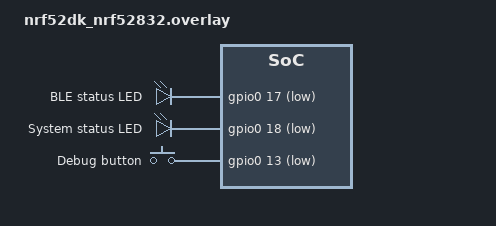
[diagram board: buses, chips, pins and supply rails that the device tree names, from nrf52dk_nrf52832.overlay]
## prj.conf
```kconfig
# nothing here

# LOG configuration
CONFIG_CONSOLE=y
CONFIG_LOG=y
CONFIG_LOG_BACKEND_UART=y
CONFIG_LOG_BACKEND_RTT=n

# Floating point unit 
CONFIG_FPU=y

# GPIO driver enable
CONFIG_GPIO=y

# Debug configuration

# BLE configuration
CONFIG_BT=y
CONFIG_BT_PERIPHERAL=y
CONFIG_BT_DEVICE_NAME="BLE-DEMO-CONNECTION2"
CONFIG_BT_LBS=y
CONFIG_BT_LBS_POLL_BUTTON=y
CONFIG_BT_GATT_CLIENT=y

# BLE connection parameters configuration.
CONFIG_BT_PERIPHERAL_PREF_MIN_INT=800
CONFIG_BT_PERIPHERAL_PREF_MAX_INT=800
CONFIG_BT_PERIPHERAL_PREF_LATENCY=0
CONFIG_BT_PERIPHERAL_PREF_TIMEOUT=400
CONFIG_BT_GAP_AUTO_UPDATE_CONN_PARAMS=y
CONFIG_BT_USER_PHY_UPDATE=y  

# Main stack configuration
CONFIG_SYSTEM_WORKQUEUE_STACK_SIZE=2048
CONFIG_MAIN_STACK_SIZE=2048
```

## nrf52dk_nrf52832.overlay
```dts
// To get started, press Ctrl+Space to bring up the completion menu and view the available nodes.

// You can also use the buttons in the sidebar to perform actions on nodes.
// Actions currently available include:

// * Enabling / disabling the node
// * Adding the bus to a bus
// * Removing the node
// * Connecting ADC channels

// For more help, browse the DeviceTree documentation at https://docs.zephyrproject.org/latest/guides/dts/index.html
// You can also visit the nRF DeviceTree extension documentation at https://nrfconnect.github.io/vscode-nrf-connect/devicetree/nrfdevicetree.html
/{
    outputs{
        compatible = "gpio-leds";

        blestatus: ble_status{
            gpios = < &gpio0 17 GPIO_ACTIVE_LOW >;
            label = "BLE status LED";
        };

        systemstatus: system_status{
            gpios = < &gpio0 18 GPIO_ACTIVE_LOW >;
            label = "System status LED";
        };
    };

    inputs{
        compatible = "gpio-keys";
        dbgbutton: dbg_button{
            gpios = < &gpio0 13 GPIO_ACTIVE_LOW >;
            label = "Debug button";
        };
    };

    aliases{
        blestatus=&blestatus;
        systemstatus=&systemstatus;
        dbgbutton=&dbgbutton;
    };
};
```

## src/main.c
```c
/*
 * Copyright (c) 2012-2014 Wind River Systems, Inc.
 *
 * SPDX-License-Identifier: Apache-2.0
 */

#include <zephyr/kernel.h>
#include <zephyr/logging/log.h>
#include <zephyr/drivers/gpio.h>
#include <zephyr/bluetooth/bluetooth.h>
#include <zephyr/bluetooth/gap.h>
#include <zephyr/bluetooth/gatt.h>
#include <zephyr/bluetooth/uuid.h>
#include <zephyr/bluetooth/addr.h>
#include <zephyr/bluetooth/conn.h>
#include <bluetooth/services/lbs.h>

/* LOG module register */
LOG_MODULE_REGISTER(main, LOG_LEVEL_DBG);

/* System constants */
#define STATUS_LED_TIME			(1000)
#define DEVICE_NAME				(CONFIG_BT_DEVICE_NAME)
#define DEVICE_NAME_LEN			(sizeof(DEVICE_NAME)-1)

/* GPIO structures */
struct gpio_dt_spec system_led = GPIO_DT_SPEC_GET(DT_ALIAS(systemstatus), gpios);
struct gpio_dt_spec ble_led = GPIO_DT_SPEC_GET(DT_ALIAS(blestatus), gpios);
struct gpio_dt_spec dbg_button = GPIO_DT_SPEC_GET(DT_ALIAS(dbgbutton), gpios);

/* Debug button callback */
static struct gpio_callback dbg_btn_cb;

/* Function prototypes */
static int init_leds(void);
static int init_button(void);

/* Bluetooth adv param 
	* Connectable advertising and use identity address 
	* 0x30 units, 48 units, 30ms.
	* 0x60 units, 96 units, 60ms
	* Set to NULL for undirected advertising
*/
static struct bt_le_adv_param *adv_param = BT_LE_ADV_PARAM(( BT_LE_ADV_OPT_CONNECTABLE |
																BT_LE_ADV_OPT_USE_IDENTITY),
														BT_GAP_ADV_FAST_INT_MIN_1,
														BT_GAP_ADV_FAST_INT_MAX_1,
														NULL);
struct bt_conn *my_conn = NULL;

static const struct bt_data ad[] ={
	BT_DATA_BYTES(BT_DATA_FLAGS, (BT_LE_AD_GENERAL | BT_LE_AD_NO_BREDR)),
	BT_DATA(BT_DATA_NAME_COMPLETE, DEVICE_NAME, DEVICE_NAME_LEN)
};

static const struct bt_data sd[] = {
	BT_DATA_BYTES(BT_DATA_UUID128_ALL, 
					BT_UUID_128_ENCODE(0x00001523, 0x1212, 0xefde, 0x1523, 0x785feabcd123))
					
};

void dbg_btn_callback(const struct device *port, struct gpio_callback *cb, gpio_port_pins_t pins){
	int err=0;
	LOG_INF("Button state is: %d",gpio_pin_get(port,dbg_button.pin));
	err = bt_lbs_send_button_state(gpio_pin_get(port,dbg_button.pin));
	if(err){
		LOG_ERR("Couldn't send notification. err:%d",err);
	}
}

void on_le_phy_updated(struct bt_conn *conn, struct bt_conn_le_phy_info *param){
	switch(param->tx_phy){
		case BT_CONN_LE_TX_POWER_PHY_1M: LOG_INF("PHY Updated. New PHY: 1M"); break;
		case BT_CONN_LE_TX_POWER_PHY_2M: LOG_INF("PHY Updated. New PHY: 2M"); break;
		case BT_CONN_LE_TX_POWER_PHY_CODED_S8: LOG_INF("PHY Updated. New PHY: Long range"); break;
	}
}

static void update_phy(struct bt_conn *conn){
	int err;
	const struct bt_conn_le_phy_param preferred_phy = {
		.options=BT_CONN_LE_PHY_OPT_NONE,
		.pref_rx_phy=BT_GAP_LE_PHY_2M,
		.pref_tx_phy=BT_GAP_LE_PHY_2M
	};
	err=bt_conn_le_phy_update(conn, &preferred_phy);
	if(err){
		LOG_ERR("bt_conn_le_phy_update() returned %d",err);
	}
}

void on_connected(struct bt_conn *conn, uint8_t err){
	if(err){
		LOG_ERR("Connection error %d",err);
		return;
	}
	LOG_INF("Connected");
	my_conn = bt_conn_ref(conn);
	gpio_pin_set(ble_led.port, ble_led.pin, true);
	
	struct bt_conn_info info;
	err=bt_conn_get_info(conn, &info);
	if(err){
		LOG_ERR("bt_conn_get_info() returned:%d",err);
		return;
	}

	double connection_interval = info.le.interval*1.25;
	uint16_t supervision_timeout = info.le.timeout*10;
	LOG_INF("Connection parameters: interval %.2f ms, latency %d intervals, timeout %d ms",
							connection_interval, info.le.latency, supervision_timeout);	
	update_phy(my_conn);						
}

void on_disconnected(struct bt_conn *conn, uint8_t reason){
	LOG_INF("Disconnected. Reason %d",reason);
	gpio_pin_set(ble_led.port, ble_led.pin, false);
	bt_conn_unref(my_conn);
}


void on_le_param_updated(struct bt_conn *conn, uint16_t interval, uint16_t latency, 
				uint16_t timeout){

	double connection_interval = interval*1.25;
	uint16_t supervision_timeout = timeout*10;
	LOG_INF("Connection parameters updated: interval %.2f ms, latency %d intervals, timeout %d ms", 
							connection_interval, latency, supervision_timeout);
	
}

struct bt_conn_cb bt_connection_callbacks = {
	.connected = on_connected,
	.disconnected = on_disconnected,
	.le_param_updated = on_le_param_updated,
	.le_phy_updated=on_le_phy_updated
};

void main(void)
{
	int err=0;

	/* Init LEDs */
	err=init_leds();
	if(err){
		LOG_ERR("Failed to initialized leds, error: %d",err);
		return;
	}	

	/* Init buttons */
	err=init_button();
	if(err){
		LOG_ERR("Failed to initialized button, error: %d",err);
		return;
	}

	/* Configure static random BLE UUID  */
	bt_conn_cb_register(&bt_connection_callbacks);

	/* Init BLE */
	err=bt_enable(NULL);
	if(err){
		LOG_ERR("Failed to enable BLE, error %d",err);
		return;
	}

	/* Configure and start BLE advertising */
	err=bt_le_adv_start(adv_param, ad, ARRAY_SIZE(ad), sd, ARRAY_SIZE(sd));
	if(err){
		LOG_ERR("Advertising failed to start (err %d)",err);
		return ;
	}

	int status_led=0;
	while(1){
		LOG_INF("Hello World! %s\n", CONFIG_BOARD);
		gpio_pin_set(system_led.port, system_led.pin, (++status_led)%2);		
		k_msleep(STATUS_LED_TIME);
	}
}

static int init_leds(void){
	/* Note: The LEDs are connected with a pull-up resistor, so to turn it off needs to
	set the GPIO as high state. */
	int err=0;

	/* Configure System status led as output without interrupt */
	if(!gpio_is_ready_dt(&system_led)){
		LOG_ERR("The system status led is not ready, error");
		return -1;
	}

	err=gpio_pin_configure_dt(&system_led,(GPIO_OUTPUT_HIGH | GPIO_INT_DISABLE));
	if(err){
		LOG_ERR("Failed to configure the system status led, error:%d",err);
		return err;
	}

	/* Configure ble connection status led as output without interrupt */
	if(!gpio_is_ready_dt(&ble_led)){
		LOG_ERR("The ble status led is not ready, error");
		return -1;
	}

	err=gpio_pin_configure_dt(&ble_led,(GPIO_OUTPUT_HIGH | GPIO_INT_DISABLE));
	if(err){
		LOG_ERR("Failed to configure the ble status led, error:%d",err);
		return err;
	}


	return err;
}

static int init_button(void){
	int err=0;
	
	if(!gpio_is_ready_dt(&dbg_button)){
		LOG_ERR("The dbg button is not ready, error");
		return -1;
	}

	err = gpio_pin_configure_dt(&dbg_button, (GPIO_INPUT | GPIO_PULL_UP));
	if(err){
		LOG_ERR("Failed to configure the dbg button, error:%d",err);
		return err;
	}
	
	err = gpio_pin_interrupt_configure_dt(&dbg_button, GPIO_INT_EDGE_BOTH);
	gpio_init_callback(&dbg_btn_cb, dbg_btn_callback, BIT(dbg_button.pin));
	err = gpio_add_callback(dbg_button.port, &dbg_btn_cb);
	if(err){
		LOG_ERR("Failed to configure button interrupt, error:%d",err);
		return err;
	}
	
	return err;
}
```
